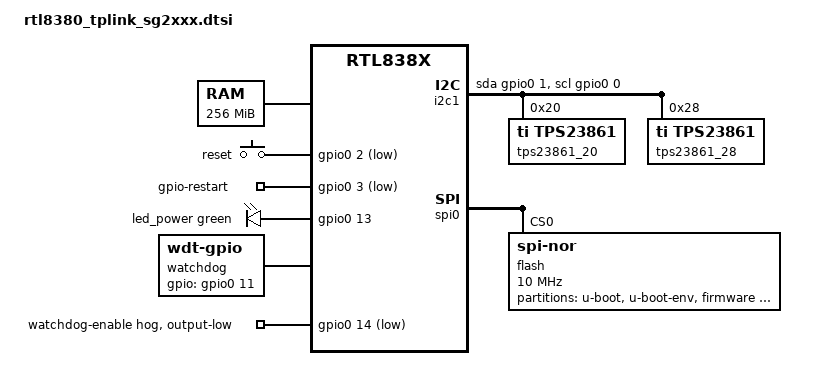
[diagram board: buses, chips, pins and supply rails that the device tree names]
// SPDX-License-Identifier: GPL-2.0-or-later

#include "rtl838x.dtsi"

#include <dt-bindings/input/input.h>
#include <dt-bindings/leds/common.h>
#include <dt-bindings/gpio/gpio.h>

/ {
	aliases {
		led-boot = &led_power;
		led-failsafe = &led_power;
		led-running = &led_power;
		led-upgrade = &led_power;
		label-mac-device = &ethernet0;
	};

	memory@0 {
		device_type = "memory";
		reg = <0x0 0x10000000>;
	};

	keys {
		compatible = "gpio-keys";

		reset {
			label = "reset";
			gpios = <&gpio0 2 GPIO_ACTIVE_LOW>;
			linux,code = <KEY_RESTART>;
		};
	};

	gpio-restart {
		compatible = "gpio-restart";
		gpios = <&gpio0 3 GPIO_ACTIVE_LOW>;
	};

	leds {
		compatible = "gpio-leds";

		led_power: led-0 {
			function = LED_FUNCTION_POWER;
			color = <LED_COLOR_ID_GREEN>;
			gpios = <&gpio0 13 GPIO_ACTIVE_HIGH>;
		};
	};

	i2c1: i2c-gpio-1 {
		compatible = "i2c-gpio";
		scl-gpios = <&gpio0 0 (GPIO_ACTIVE_HIGH | GPIO_OPEN_DRAIN)>;
		sda-gpios = <&gpio0 1 (GPIO_ACTIVE_HIGH | GPIO_OPEN_DRAIN)>;
		i2c-gpio,delay-us = <2>;
		#address-cells = <1>;
		#size-cells = <0>;

		tps23861_20: tps23861@20 {
			compatible = "ti,tps23861";
			reg = <0x20>;
			shunt-resistor-micro-ohms = <255000>;
		};

		tps23861_28: tps23861@28 {
			compatible = "ti,tps23861";
			reg = <0x28>;
			shunt-resistor-micro-ohms = <255000>;
		};
	};

	watchdog {
		compatible = "linux,wdt-gpio";
		gpios = <&gpio0 11 GPIO_ACTIVE_HIGH>;
		hw_algo = "toggle";
		/* SGM706 specs: typical 1.6s, but minimum 1.0s. */
		hw_margin_ms = <1000>;
	};
};

&gpio0 {
	watchdog-enable {
		gpio-hog;
		gpios = <14 GPIO_ACTIVE_LOW>;
		output-low;
		line-name = "watchdog-enable";
	};
};

&spi0 {
	status = "okay";

	flash@0 {
		compatible = "jedec,spi-nor";
		reg = <0>;
		spi-max-frequency = <10000000>;

		partitions {
			compatible = "fixed-partitions";
			#address-cells = <1>;
			#size-cells = <1>;

			partition@0 {
				label = "u-boot";
				reg = <0x0 0xe0000>;
				read-only;
			};
			partition@e0000 {
				label = "u-boot-env";
				reg = <0xe0000 0x20000>;
			};
			partition@100000 {
				compatible = "denx,uimage";
				label = "firmware";
				reg = <0x100000 0x1a00000>;
			};
			partition@1b00000 {
				label = "usrappfs";
				reg = <0x1b00000 0x400000>;
			};
			partition@1f00000 {
				label = "para";
				reg = <0x1f00000 0x100000>;
				read-only;

				nvmem-layout {
					compatible = "fixed-layout";
					#address-cells = <1>;
					#size-cells = <1>;

					factory_macaddr: macaddr@fdff4 {
						reg = <0xfdff4 0x6>;
					};
				};
			};
		};
	};
};

&mdio_bus0 {
	PHY_C22(8, 8)
	PHY_C22(9, 9)
	PHY_C22(10, 10)
	PHY_C22(11, 11)
	PHY_C22(12, 12)
	PHY_C22(13, 13)
	PHY_C22(14, 14)
	PHY_C22(15, 15)
};

&ethernet0 {
	nvmem-cells = <&factory_macaddr>;
	nvmem-cell-names = "mac-address";
};

&switch0 {
	ethernet-ports {
		#address-cells = <1>;
		#size-cells = <0>;

		SWITCH_PORT(15, 1, internal)
		SWITCH_PORT(14, 2, internal)
		SWITCH_PORT(13, 3, internal)
		SWITCH_PORT(12, 4, internal)
		SWITCH_PORT(11, 5, internal)
		SWITCH_PORT(10, 6, internal)
		SWITCH_PORT(9, 7, internal)
		SWITCH_PORT(8, 8, internal)

		/* TODO: fixed link SFP is not right */
		port24: port@24 {
			reg = <24>;
			label = SWITCH_PORT_LABEL(9);
			pcs-handle = <&serdes4 0>;
			phy-mode = "1000base-x";
			fixed-link {
				speed = <1000>;
				full-duplex;
			};
		};
		port26: port@26 {
			reg = <26>;
			label = SWITCH_PORT_LABEL(10);
			pcs-handle = <&serdes5 0>;
			phy-mode = "1000base-x";
			fixed-link {
				speed = <1000>;
				full-duplex;
			};
		};

		port@28 {
			ethernet = <&ethernet0>;
			reg = <28>;
			phy-mode = "internal";

			fixed-link {
				speed = <1000>;
				full-duplex;
			};
		};
	};
};
